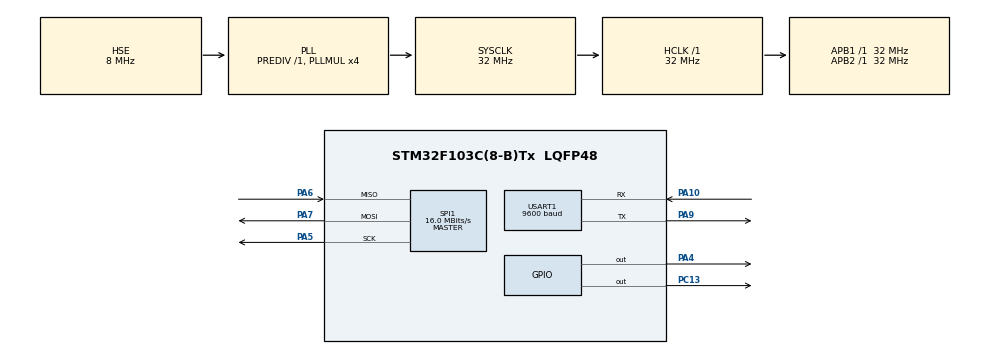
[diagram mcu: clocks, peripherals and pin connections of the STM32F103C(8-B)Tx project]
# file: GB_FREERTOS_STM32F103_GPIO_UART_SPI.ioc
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FREERTOS.Tasks01=Task1,1,128,StartDefaultTask,Default,NULL,Dynamic,NULL,NULL;myTask02,0,128,StartTask02,Default,NULL,Dynamic,NULL,NULL;myTask03,0,128,StartTask03,Default,NULL,Dynamic,NULL,NULL
FREERTOS.configUSE_NEWLIB_REENTRANT=1
Mcu.Family=STM32F1
Mcu.Name=STM32F103C(8-B)Tx
Mcu.Package=LQFP48
NVIC.PriorityGroup=NVIC_PRIORITYGROUP_4
NVIC.TIM1_UP_IRQn=true\:15\:0\:false\:false\:true\:false\:false\:true
NVIC.TimeBase=TIM1_UP_IRQn
NVIC.TimeBaseIP=TIM1
PA10.Mode=Asynchronous
PA10.Signal=USART1_RX
PA13.Mode=Serial_Wire
PA13.Signal=SYS_JTMS-SWDIO
PA14.Mode=Serial_Wire
PA14.Signal=SYS_JTCK-SWCLK
PA4.Signal=GPIO_Output
PA5.Mode=Full_Duplex_Master
PA5.Signal=SPI1_SCK
PA6.Mode=Full_Duplex_Master
PA6.Signal=SPI1_MISO
PA7.Mode=Full_Duplex_Master
PA7.Signal=SPI1_MOSI
PA9.Mode=Asynchronous
PA9.Signal=USART1_TX
PC13-TAMPER-RTC.Signal=GPIO_Output
PD0-OSC_IN.Mode=HSE-External-Oscillator
PD0-OSC_IN.Signal=RCC_OSC_IN
PD1-OSC_OUT.Mode=HSE-External-Oscillator
PD1-OSC_OUT.Signal=RCC_OSC_OUT
ProjectManager.HeapSize=0x200
ProjectManager.StackSize=0x400
ProjectManager.TargetToolchain=STM32CubeIDE
RCC.AHBFreq_Value=32000000
RCC.APB1Freq_Value=32000000
RCC.APB1TimFreq_Value=32000000
RCC.APB2Freq_Value=32000000
RCC.APB2TimFreq_Value=32000000
RCC.HCLKFreq_Value=32000000
RCC.PLLMUL=RCC_PLL_MUL4
RCC.PLLSourceVirtual=RCC_PLLSOURCE_HSE
RCC.SYSCLKFreq_VALUE=32000000
RCC.SYSCLKSource=RCC_SYSCLKSOURCE_PLLCLK
RCC.USBFreq_Value=32000000
SPI1.CalculateBaudRate=16.0 MBits/s
SPI1.Direction=SPI_DIRECTION_2LINES
SPI1.Mode=SPI_MODE_MASTER
SPI1.VirtualType=VM_MASTER
USART1.BaudRate=9600
USART1.VirtualMode=VM_ASYNC
VP_FREERTOS_VS_CMSIS_V1.Mode=CMSIS_V1
VP_SYS_VS_tim1.Mode=TIM1
board=custom

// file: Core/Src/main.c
/* USER CODE BEGIN Header */
/**
  ******************************************************************************
  * @file           : main.c
  * @brief          : Main program body
  ******************************************************************************
  * @attention
  *
  * Copyright (c) 2022 STMicroelectronics.
  * All rights reserved.
  *
  * This software is licensed under terms that can be found in the LICENSE file
  * in the root directory of this software component.
  * If no LICENSE file comes with this software, it is provided AS-IS.
  *
  ******************************************************************************
  */
/* USER CODE END Header */
#include "w25q128jv.h"
#include "main.h"
#include "cmsis_os.h"

SPI_HandleTypeDef hspi1;

UART_HandleTypeDef huart1;

osThreadId Task1Handle;
osThreadId myTask02Handle;
osThreadId myTask03Handle;

void SystemClock_Config(void);
static void MX_GPIO_Init(void);
static void MX_SPI1_Init(void);
static void MX_USART1_UART_Init(void);
void StartDefaultTask(void const * argument);
void StartTask02(void const * argument);
void StartTask03(void const * argument);

/* USER CODE BEGIN PFP */
uint8_t val[10] = "Gettobyte\n";
uint8_t rxbuff[10];

uint8_t rx_buf[1025];
uint8_t dt[4];

//uint8_t*tran_buff = "0000/285444500/771888200/00100/255/000/010/0000/285444500/771888200/00100/255/000/010/0000/285444500/771888200/00100/255/000/010/\n";

uint8_t *tran_buff = "Kunal Gupta is maker of gettobyte\n";

uint8_t x =0;
/* USER CODE END PFP */

/* USER CODE BEGIN 0 */
//
//#define WriteEnable 0x06
//#define WriteDisable 0x04
//#define Dummybyte 0xA5
//
//#define ReadSR1 0x05
//#define WriteSR1 0x01
//#define ReadSR2 0x35  //0x35: 00110101
//#define WriteSR2 0x31
//#define ReadSR3 0x15
//#define WriteSR3 0x11
//
//
//#define Write_Enab_for_Vol_status_regist 0x50
//
//#define ReadData 0x03
//#define WriteData 0x02
//#define ReadDataFast 0x0B
//
//
//#define JEDECID 0x9F
//#define UinqueID 0x4B
//
//#define SectErase4KB 0x20
//#define SectErase32KB 0x52
//#define SectErase64KB 0xD8
//#define chiperase 0xC7
//
//#define reset1 0x66
//#define reset2 0x99
//
//#define read_addr1 0x020000
//#define read_addr2 0x030000
//#define read_addr3 0x040000
//
//#define BUSY_BIT 0x01
//
//#define cs_set() HAL_GPIO_WritePin(GPIOA,GPIO_PIN_4,GPIO_PIN_SET)
//#define cs_reset() HAL_GPIO_WritePin(GPIOA,GPIO_PIN_4,GPIO_PIN_RESET)
//uint8_t tx_buf[10];
//void SPI1_Send (uint8_t *dt, uint16_t cnt)
//{
//  HAL_SPI_Transmit (&hspi1, dt, cnt, 5000);
//
//}
//void SPI1_Recv (uint8_t *dt, uint16_t cnt)
//{
//  HAL_SPI_Receive (&hspi1, dt, cnt, 5000);
//}
//void W25_Reset (void)
//{
//  cs_reset();
//  tx_buf[0] = reset1;
//  tx_buf[1] = reset2;
//  SPI1_Send(tx_buf, 2);
//  cs_set();
//}
//void WriteEnable_flash()
//{
//	cs_reset();
//	tx_buf[0] = WriteEnable;
//	SPI1_Send(tx_buf,1);
//	cs_set();
//
//}
//void W25_Read_Data(uint32_t addr, uint8_t* data, uint32_t sz)
//{
//  cs_reset();
//  tx_buf[0] = ReadData;
//  tx_buf[1] = (addr >> 16) & 0xFF;
//  tx_buf[2] = (addr >> 8) & 0xFF;
//  tx_buf[3] = addr & 0xFF;
//  SPI1_Send(tx_buf, 4);
//  SPI1_Recv(data, sz);
//  cs_set();
//}
//void W25_Write_Data(uint32_t addr, uint8_t* data, uint32_t sz)
//{
//	WriteEnable_flash();
//	  HAL_Delay(100);
//  cs_reset();
//  tx_buf[0] = WriteData;
//  tx_buf[1] = (addr >> 16) & 0xFF;
//  tx_buf[2] = (addr >> 8) & 0xFF;
//  tx_buf[3] = addr & 0xFF;
//  SPI1_Send(tx_buf, 4);
//  SPI1_Send(data, sz);
//  cs_set();
//}
//uint32_t W25_Read_ID(void)
//{
//  uint8_t dt[4];
//  tx_buf[0] = JEDECID;
//  cs_reset();
//  SPI1_Send(tx_buf, 1);
//  SPI1_Recv(dt,3);
//  cs_set();
//  return (dt[0] << 16) | (dt[1] << 8) | dt[2];
//}
//void W25_Ini(void)
//{
//  HAL_Delay(100);
//  W25_Reset();
//  HAL_Delay(100);
//  unsigned int id = W25_Read_ID();
//  // HAL_UART_Transmit(&huart2,(uint8_t*)"\r\n",2,0x1000);
//  // sprintf(str1,"ID:0x%X\r\n",id);
//  // HAL_UART_Transmit(&huart2,(uint8_t*)str1,strlen(str1),0x1000);
//}
//void erase_sector4KB(uint32_t addr)
//{
//
//	WriteEnable_flash();
//	HAL_Delay(100);
//	cs_reset();
//	tx_buf[0] = SectErase4KB;
//	tx_buf[1] = (addr >> 16) & 0xFF;
//	tx_buf[2] = (addr >> 8) & 0xFF;
//	tx_buf[3] = addr & 0xFF;
//	SPI1_Send(tx_buf,4);
//	cs_set();
//}
//void erase_sector32KB(uint32_t addr)
//{
//	WriteEnable_flash();
//	cs_reset();
//	tx_buf[0] = SectErase32KB;
//	tx_buf[1] = (addr >> 16) & 0xFF;
//	tx_buf[2] = (addr >> 8) & 0xFF;
//	tx_buf[3] = addr & 0xFF;
//	SPI1_Send(tx_buf,4);
//	cs_set();
//}
//void erase_sector64KB(uint32_t addr)
//{
//	WriteEnable_flash();
//	cs_reset();
//	tx_buf[0] = SectErase64KB;
//	tx_buf[1] = (addr >> 16) & 0xFF;
//	tx_buf[2] = (addr >> 8) & 0xFF;
//	tx_buf[3] = addr & 0xFF;
//	SPI1_Send(tx_buf,4);
//	cs_set();
//}
//void chip_erase()
//{
//	WriteEnable_flash();
//	cs_reset();
//	tx_buf[0] = chiperase;
//	SPI1_Send(tx_buf,1);
//	cs_set();
//}
//void Uinque_ID(uint8_t uinque[])
//{
//	cs_reset();
//	tx_buf[0] = UinqueID;
//
//}
//void WriteSR(uint8_t SR_address, uint8_t SR_data)
//{
//	WriteEnable_flash();
//	cs_reset();
//	tx_buf[0] = SR_address;
//	tx_buf[1] = SR_data;
//	SPI1_Send(tx_buf,2);
//	cs_set();
//
//}
//uint8_t ReadSR(uint8_t SR_address)
//{
//	uint8_t RSR[1] = {0};
//	cs_reset();
//	tx_buf[0] =  SR_address;
//	SPI1_Send(tx_buf,1);
//	SPI1_Recv(RSR,1);
//	cs_set();
//	return RSR[0];
//}
//void WaitForWriteEnd(void)
//{
//	uint8_t StatusRegist1[1] = {0};
//	cs_reset();
//	tx_buf[0] = ReadSR1;
//	SPI1_Send(tx_buf,1);
//	SPI1_Recv(StatusRegist1,1);
//	do
//  {
//		tx_buf[0] = Dummybyte;
//		SPI1_Send(tx_buf,1);
//		SPI1_Recv(StatusRegist1,1);
//    }
//  while ((StatusRegist1[0] & 0x01) == 0x01);
//  cs_set();
//}

/* USER CODE END 0 */

int main(void)
{

  /* MCU Configuration--------------------------------------------------------*/

  /* Reset of all peripherals, Initializes the Flash interface and the Systick. */
  HAL_Init();

  /* Configure the system clock */
  SystemClock_Config();

  /* Initialize all configured peripherals */
  MX_GPIO_Init();
  MX_SPI1_Init();
  MX_USART1_UART_Init();

  /* Create the thread(s) */
  /* definition and creation of Task1 */
  osThreadDef(Task1, StartDefaultTask, osPriorityNormal, 0, 128);
  Task1Handle = osThreadCreate(osThread(Task1), NULL);

  /* definition and creation of myTask02 */
  osThreadDef(myTask02, StartTask02, osPriorityNormal, 0, 128);
  myTask02Handle = osThreadCreate(osThread(myTask02), NULL);

  /* definition and creation of myTask03 */
  osThreadDef(myTask03, StartTask03, osPriorityNormal, 0, 128);
  myTask03Handle = osThreadCreate(osThread(myTask03), NULL);

  /* Start scheduler */
  osKernelStart();

  /* We should never get here as control is now taken by the scheduler */
  /* Infinite loop */
  while (1)
  {

  }
}

void SystemClock_Config(void)
{
  RCC_OscInitTypeDef RCC_OscInitStruct = {0};
  RCC_ClkInitTypeDef RCC_ClkInitStruct = {0};

  /** Initializes the RCC Oscillators according to the specified parameters
  * in the RCC_OscInitTypeDef structure.
  */
  RCC_OscInitStruct.OscillatorType = RCC_OSCILLATORTYPE_HSE;
  RCC_OscInitStruct.HSEState = RCC_HSE_ON;
  RCC_OscInitStruct.HSEPredivValue = RCC_HSE_PREDIV_DIV1;
  RCC_OscInitStruct.HSIState = RCC_HSI_ON;
  RCC_OscInitStruct.PLL.PLLState = RCC_PLL_ON;
  RCC_OscInitStruct.PLL.PLLSource = RCC_PLLSOURCE_HSE;
  RCC_OscInitStruct.PLL.PLLMUL = RCC_PLL_MUL4;
  if (HAL_RCC_OscConfig(&RCC_OscInitStruct) != HAL_OK)
  {
    Error_Handler();
  }
  /** Initializes the CPU, AHB and APB buses clocks
  */
  RCC_ClkInitStruct.ClockType = RCC_CLOCKTYPE_HCLK|RCC_CLOCKTYPE_SYSCLK
                              |RCC_CLOCKTYPE_PCLK1|RCC_CLOCKTYPE_PCLK2;
  RCC_ClkInitStruct.SYSCLKSource = RCC_SYSCLKSOURCE_PLLCLK;
  RCC_ClkInitStruct.AHBCLKDivider = RCC_SYSCLK_DIV1;
  RCC_ClkInitStruct.APB1CLKDivider = RCC_HCLK_DIV1;
  RCC_ClkInitStruct.APB2CLKDivider = RCC_HCLK_DIV1;

  if (HAL_RCC_ClockConfig(&RCC_ClkInitStruct, FLASH_LATENCY_1) != HAL_OK)
  {
    Error_Handler();
  }
}

static void MX_SPI1_Init(void)
{

  /* SPI1 parameter configuration*/
  hspi1.Instance = SPI1;
  hspi1.Init.Mode = SPI_MODE_MASTER;
  hspi1.Init.Direction = SPI_DIRECTION_2LINES;
  hspi1.Init.DataSize = SPI_DATASIZE_8BIT;
  hspi1.Init.CLKPolarity = SPI_POLARITY_LOW;
  hspi1.Init.CLKPhase = SPI_PHASE_1EDGE;
  hspi1.Init.NSS = SPI_NSS_SOFT;
  hspi1.Init.BaudRatePrescaler = SPI_BAUDRATEPRESCALER_2;
  hspi1.Init.FirstBit = SPI_FIRSTBIT_MSB;
  hspi1.Init.TIMode = SPI_TIMODE_DISABLE;
  hspi1.Init.CRCCalculation = SPI_CRCCALCULATION_DISABLE;
  hspi1.Init.CRCPolynomial = 10;
  if (HAL_SPI_Init(&hspi1) != HAL_OK)
  {
    Error_Handler();
  }

}

static void MX_USART1_UART_Init(void)
{

  huart1.Instance = USART1;
  huart1.Init.BaudRate = 9600;
  huart1.Init.WordLength = UART_WORDLENGTH_8B;
  huart1.Init.StopBits = UART_STOPBITS_1;
  huart1.Init.Parity = UART_PARITY_NONE;
  huart1.Init.Mode = UART_MODE_TX_RX;
  huart1.Init.HwFlowCtl = UART_HWCONTROL_NONE;
  huart1.Init.OverSampling = UART_OVERSAMPLING_16;
  if (HAL_UART_Init(&huart1) != HAL_OK)
  {
    Error_Handler();
  }

}

static void MX_GPIO_Init(void)
{
  GPIO_InitTypeDef GPIO_InitStruct = {0};

  /* GPIO Ports Clock Enable */
  __HAL_RCC_GPIOC_CLK_ENABLE();
  __HAL_RCC_GPIOD_CLK_ENABLE();
  __HAL_RCC_GPIOA_CLK_ENABLE();

  /*Configure GPIO pin Output Level */
  HAL_GPIO_WritePin(GPIOC, GPIO_PIN_13, GPIO_PIN_RESET);

  /*Configure GPIO pin Output Level */
  HAL_GPIO_WritePin(GPIOA, GPIO_PIN_4, GPIO_PIN_RESET);

  /*Configure GPIO pin : PC13 */
  GPIO_InitStruct.Pin = GPIO_PIN_13;
  GPIO_InitStruct.Mode = GPIO_MODE_OUTPUT_PP;
  GPIO_InitStruct.Pull = GPIO_NOPULL;
  GPIO_InitStruct.Speed = GPIO_SPEED_FREQ_LOW;
  HAL_GPIO_Init(GPIOC, &GPIO_InitStruct);

  /*Configure GPIO pin : PA4 */
  GPIO_InitStruct.Pin = GPIO_PIN_4;
  GPIO_InitStruct.Mode = GPIO_MODE_OUTPUT_PP;
  GPIO_InitStruct.Pull = GPIO_NOPULL;
  GPIO_InitStruct.Speed = GPIO_SPEED_FREQ_LOW;
  HAL_GPIO_Init(GPIOA, &GPIO_InitStruct);

}

void StartDefaultTask(void const * argument)
{
  /* USER CODE BEGIN 5 */
  /* Infinite loop */
  for(;;)
  {
	  HAL_GPIO_WritePin(GPIOC, GPIO_PIN_13, GPIO_PIN_RESET);
	  osDelay(1000);
	  HAL_GPIO_WritePin(GPIOC, GPIO_PIN_13, GPIO_PIN_SET);
	  osDelay(1000);
  }
  /* USER CODE END 5 */
}

void StartTask02(void const * argument)
{
  /* USER CODE BEGIN StartTask02 */
  /* Infinite loop */
  for(;;)
  {
	  HAL_UART_Transmit(&huart1,"Task 2 is running",20,100);
	  osDelay(200);
	//  HAL_UART_Receive(&huart1, rxbuff, 5, 10000);
	//  osDelay(100);
  }
  /* USER CODE END StartTask02 */
}

void StartTask03(void const * argument)
{
  /* USER CODE BEGIN StartTask03 */
  /* Infinite loop */
	W25_Read_ID();
	erase_sector4KB(read_addr1);
	if((ReadSR(ReadSR1) & BUSY_BIT) == 0x01)
	{
	  erase_sector4KB(read_addr1);
	}
	x = ReadSR(ReadSR1);
	//HAL_Delay(100);

  for(;;)
  {
	 W25_Write_Data(read_addr1,tran_buff,35);
	 osDelay(200);
	 W25_Read_Data(read_addr1,rx_buf,35);
	 osDelay(200);
     HAL_UART_Transmit(&huart1,rx_buf,35,100);
  }
  /* USER CODE END StartTask03 */
}

void HAL_TIM_PeriodElapsedCallback(TIM_HandleTypeDef *htim)
{
  if (htim->Instance == TIM1) {
    HAL_IncTick();
  }
}

void Error_Handler(void)
{
  __disable_irq();
  while (1)
  {
  }
}
